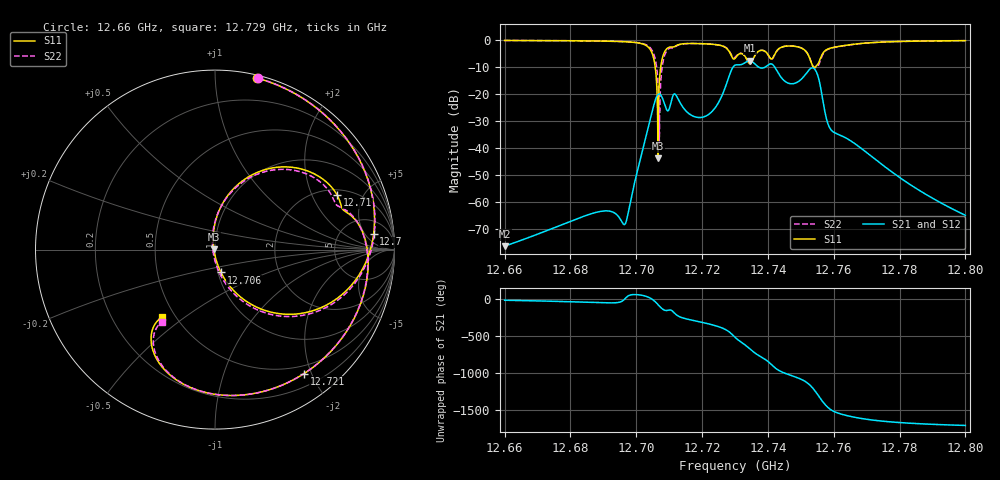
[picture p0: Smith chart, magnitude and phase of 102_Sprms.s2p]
! TOUCHSTONE file generated by CST MICROWAVE STUDIO
! Date and time: Wed Jul 31 15:54:10 2024
! Project name: WaveGuide_BPF-Ver4.1_U-shape_Ku_T3_C4_CWA_2.cst
! Parameters = {cavity_h=16; cavity_l0=10; cavity_l1=15.1841; cavity_l2=16.8011; cavity_l3=17.1405; cavity_l4=17.2459; cavity_l5=17.0964; cavity_l6=17.6091; cavity_r=2.5; cavity_screw_l=0.5; cavity_screw_r=1.5; cavity_w=8; iris_h00=0; iris_h01=8.8082; iris_h112=0; iris_h12=5.6071; iris_h211=3.668; i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
! Header version: 2018
! Port assignment regex: !\s*Touchstone port\s*([0-9]+)\s*=\s*(CST MWS port|CST DS port)\s*([0-9]+|Zmin|Zmax)\s*\(\"(.*)\"\)(\s*mode\s*([0-9]+))?.*
! Touchstone port assignment:
! Touchstone port 1 = CST MWS port 1 ("")
! Touchstone port 2 = CST MWS port 2 ("")
# GHz S RI R 50
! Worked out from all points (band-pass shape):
!   5001 points, 12.66 GHz to 12.8 GHz, reference 50 ohm
!   highest |S21| = -7.63 dB at 12.734 GHz (marker M1); lowest = -76.2 dB at 12.66 GHz (marker M2)
!   |S21| within 3 dB of the highest: 12.72909 GHz to 12.74239 GHz (13.3 MHz wide, 0.104 % of centre); 12.75283 GHz to 12.75411 GHz (1.275 MHz wide, 0.01 % of centre)
!   lowest |S11| = -43.7 dB at 12.707 GHz (marker M3), VSWR 1.01, Z = 49.4 + j0.187 ohm
!   |S11| at or under -10 dB: 12.70575 GHz to 12.70743 GHz (1.672 MHz wide, 0.0132 % of centre); 12.75385 GHz to 12.7543 GHz (450.8 kHz wide, 0.00353 % of centre)
!   |S22| runs from -38.4 to -0.1 dB; largest |S21 - S12| = 1e-09
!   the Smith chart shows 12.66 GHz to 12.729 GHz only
!   S11 on the Smith chart (normalised r, x): 12.66 GHz: 0.02, +1.28; 12.7 GHz: 10, +8; 12.706 GHz: 1.03, -0.27; 12.71 GHz: 2.29, +3.13; 12.721 GHz: 0.38, -1.89; 12.729 GHz: 0.42, -0.41
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12.66  0.2364 0.955  0.000148 -4.65e-05  0.000148 -4.65e-05  0.2406 0.954
12.68335  0.6022 0.7583  0.000394 -0.000359  0.000394 -0.000359  0.6047 0.7567
12.69646  0.86 0.362  0.000389 -1.89e-05  0.000389 -1.89e-05  0.8605 0.3653
12.70049  0.8837 0.0863  0.0022 0.00347  0.0022 0.00347  0.8887 0.1
12.70469  0.4793 -0.3556  0.0441 0.000523  0.0441 0.000523  0.5662 -0.3456
12.70626  0.0333 -0.1271  0.0465 -0.0788  0.0465 -0.0788  0.1219 -0.261
12.70659  -0.00626 0.00189  0.0244 -0.0953  0.0244 -0.0953  0.0414 -0.161
12.70668  -0.00939 0.0357  0.0177 -0.0979  0.0177 -0.0979  0.0259 -0.1316
12.71037  0.6806 0.3033  -0.0545 -0.0328  -0.0545 -0.0328  0.6338 0.3274
12.72118  0.4955 -0.6912  0.0338 0.0204  0.0338 0.0204  0.5095 -0.682
12.72913  -0.2945 -0.3772  -0.1543 -0.2546  -0.1543 -0.2546  -0.2949 -0.4036
12.73  -0.22 -0.402  -0.3206 -0.1221  -0.3206 -0.1221  -0.2295 -0.4189
12.73445  -0.2898 -0.2221  0.2843 0.3031  0.2843 0.3031  -0.29 -0.2266
12.7389  -0.6235 -0.0964  -0.00926 -0.3105  -0.00926 -0.3105  -0.6211 -0.1023
12.74481  -0.709 0.2751  0.0301 0.1781  0.0301 0.1781  -0.7179 0.2506
12.74957  -0.1417 0.7218  0.1765 0.00609  0.1765 0.00609  -0.1696 0.7165
12.75335  0.2156 0.2866  -0.1251 -0.2798  -0.1251 -0.2798  0.2107 0.2948
12.75733  0.4487 0.4477  0.0457 0.01  0.0457 0.01  0.3982 0.4732
12.76111  0.7098 -0.2606  -0.00413 -0.0179  -0.00413 -0.0179  0.7152 -0.2244
12.76702  0.0599 -0.848  -0.0112 -0.0023  -0.0112 -0.0023  0.0717 -0.844
12.77668  -0.7066 -0.6027  -0.00296 0.00275  -0.00296 0.00275  -0.7071 -0.6012
12.8  -0.967 0.1261  3.53e-05 0.000574  3.53e-05 0.000574  -0.9663 0.1315
